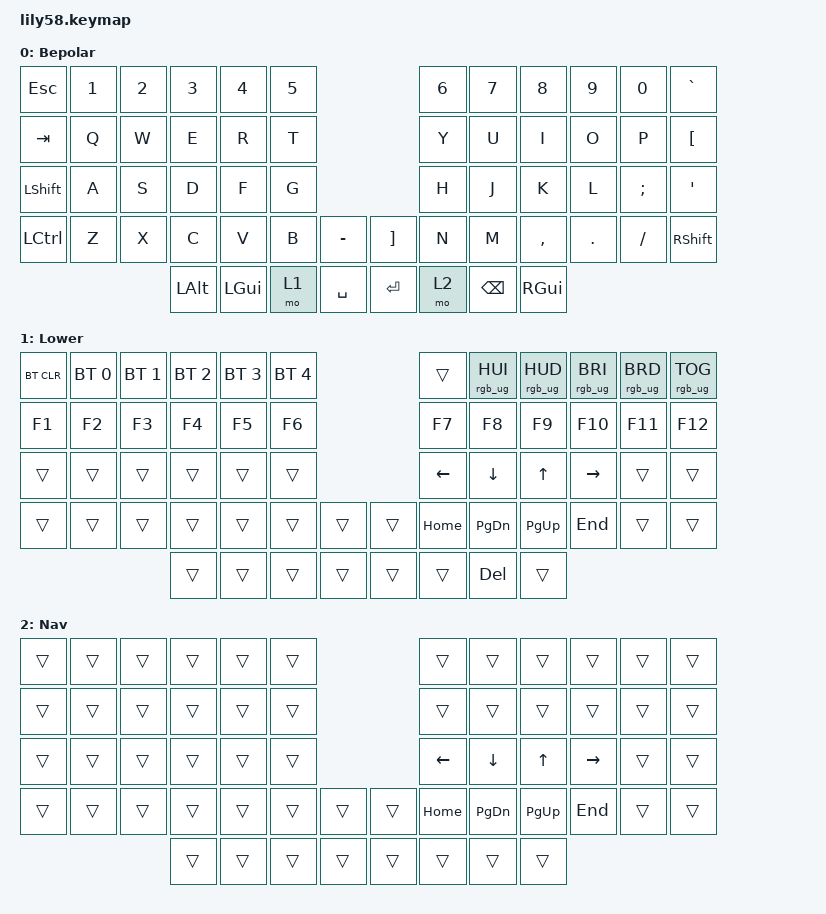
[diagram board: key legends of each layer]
#include <behaviors.dtsi>                                                                                                                                                                   
#include <dt-bindings/zmk/bt.h>
#include <dt-bindings/zmk/keys.h>                                                                                                                                                           
#include <dt-bindings/zmk/rgb.h>
#include <dt-bindings/zmk/ext_power.h>                                                                                                                                                      
                                                                                                                                                                                          
&led_strip {
  chain-length = <29>;                                                                                                                                                                    
};              

/ {                                                                                                                                                                                         
  keymap {
      compatible = "zmk,keymap";                                                                                                                                                          
              
      default_layer {
          display-name = "Bepolar";
          bindings = <                                                                                                                                                                    
&kp ESC    &kp N1  &kp N2  &kp N3    &kp N4    &kp N5                         &kp N6  &kp N7    &kp N8     &kp N9   &kp N0    &kp GRAVE
&kp TAB    &kp Q   &kp W   &kp E     &kp R     &kp T                          &kp Y   &kp U     &kp I      &kp O    &kp P     &kp LBKT                                                      
&kp LSHFT  &kp A   &kp S   &kp D     &kp F     &kp G                          &kp H   &kp J     &kp K      &kp L    &kp SEMI  &kp SQT                                                       
&kp LCTRL  &kp Z   &kp X   &kp C     &kp V     &kp B   &kp MINUS    &kp RBKT  &kp N   &kp M     &kp COMMA  &kp DOT  &kp FSLH  &kp RSHFT                                                     
                          &kp LALT  &kp LGUI  &mo 1   &kp SPACE    &kp RET   &mo 2   &kp BSPC  &kp RGUI                                                                                   
          >;                                                                                                                                                                              
      };                                                                                                                                                                                  
                                                                                                                                                                                          
      lower_layer {
          display-name = "Lower";
          bindings = <                                                                                                                                                                    
&bt BT_CLR  &bt BT_SEL 0  &bt BT_SEL 1  &bt BT_SEL 2  &bt BT_SEL 3  &bt BT_SEL 4                       &trans    &rgb_ug RGB_HUI  &rgb_ug RGB_HUD  &rgb_ug RGB_BRI  &rgb_ug RGB_BRD  &rgb_ug
RGB_TOG                                                                                                                                                                                    
&kp F1      &kp F2        &kp F3        &kp F4        &kp F5        &kp F6                             &kp F7    &kp F8           &kp F9           &kp F10          &kp F11          &kp F12
&trans      &trans        &trans        &trans        &trans        &trans                             &kp LEFT  &kp DOWN         &kp UP           &kp RIGHT        &trans           &trans 
&trans      &trans        &trans        &trans        &trans        &trans        &trans    &trans     &kp HOME  &kp PG_DN        &kp PG_UP        &kp END          &trans           &trans 
                                      &trans        &trans        &trans        &trans    &trans     &trans    &kp DEL          &trans                                                    
          >;                                                                                                                                                                              
      };                                                                                                                                                                                  
                                                                                                                                                                                          
      raise_layer {
          display-name = "Nav";
          bindings = <                                                                                                                                                                    
&trans  &trans  &trans  &trans  &trans  &trans                     &trans    &trans     &trans   &trans     &trans   &trans
&trans  &trans  &trans  &trans  &trans  &trans                     &trans    &trans     &trans   &trans     &trans   &trans                                                                 
&trans  &trans  &trans  &trans  &trans  &trans                     &kp LEFT  &kp DOWN   &kp UP   &kp RIGHT  &trans   &trans                                                                 
&trans  &trans  &trans  &trans  &trans  &trans   &trans    &trans  &kp HOME  &kp PG_DN  &kp PG_UP &kp END  &trans   &trans                                                                  
                      &trans  &trans  &trans   &trans    &trans  &trans    &trans     &trans                                                                                              
          >;                                                                                                                                                                              
      };                                                                                                                                                                                  
                                                                                                                                                                                          
      extra_1 { status = "reserved"; };                                                                                                                                                   
      extra_2 { status = "reserved"; };
      extra_3 { status = "reserved"; };                                                                                                                                                   
  };          
};                                                                                                                                                                                          


